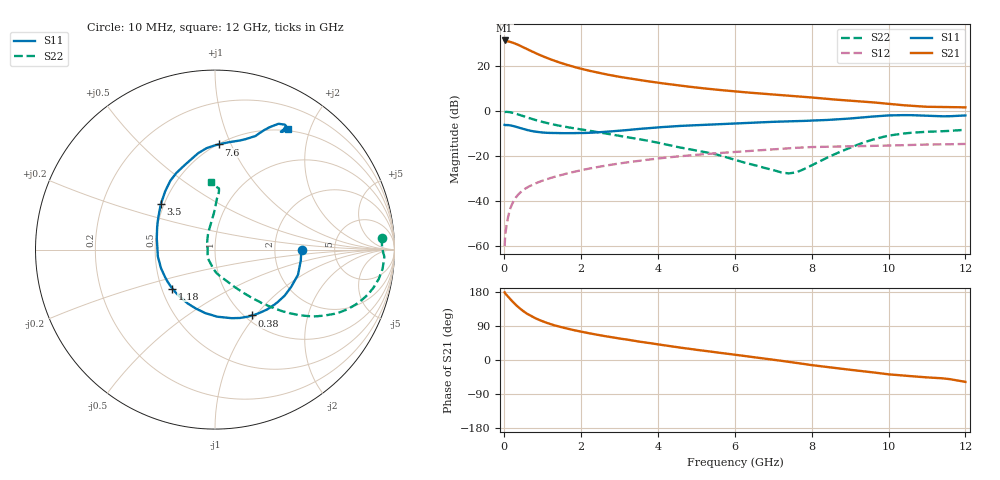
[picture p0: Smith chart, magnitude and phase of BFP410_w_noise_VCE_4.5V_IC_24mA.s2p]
! Infineon Technologies  Discrete & RF Semiconductors
! BFP410
! VCE =  4.5 V,  IC =  24 mA
! Common Emitter S-Parameters:  Nov 2015
# GHz  S  MA  R  50
!  f  S11  S21  S12  S22
! GHz  MAG  ANG  MAG  ANG  MAG  ANG  MAG  ANG
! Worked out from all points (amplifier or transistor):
!   243 points, 10 MHz to 12 GHz, reference 50 ohm
!   highest |S21| = 31.1 dB at 10 MHz (marker M1)
!   |S21| within 3 dB of that: start of sweep to 495.1 MHz
!   unconditionally stable (mu >= 1): start of sweep to 30.52 MHz; 1.897 GHz to end of sweep
!   at 240 MHz: K = 0.37, MSG = 35.1 dB, |S12| = -40.2 dB
!   at 1.84 GHz: K = 0.99, MSG = 23.1 dB, |S12| = -27.0 dB
!   at 12 GHz: K = 1.02, MAG = 7.2 dB, |S12| = -14.7 dB
!   lowest NFmin = 1.85 dB at 450 MHz
!   S11 on the Smith chart (normalised r, x): 10 MHz: 2.88, -0.01; 380 MHz: 1.08, -0.96; 1.18 GHz: 0.57, -0.28; 3.5 GHz: 0.48, +0.29; 7.6 GHz: 0.50, +0.90; 12 GHz: 0.48, +1.68
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0.01  0.4852 -0.2  35.9 178.4  0.001 35.8  0.9302 4.1
0.02  0.4804 -1.6  35.45 176.2  0.0015 59.0  0.9316 0.3
0.05  0.4818 -7.1  34.77 172.7  0.0025 63.4  0.9445 -2.4
0.1  0.4833 -16.8  34.31 167.3  0.0044 70.1  0.9397 -6.6
0.2  0.4653 -33.4  32.57 156.0  0.0084 71.4  0.9074 -13.6
0.3  0.4422 -49.0  30.29 145.7  0.0119 69.4  0.8596 -19.5
0.38  0.4214 -60.5  28.26 138.4  0.0143 67.0  0.8177 -23.5
0.5  0.3931 -76.4  25.3 128.7  0.0176 64.6  0.7551 -28.3
0.6  0.3742 -88.0  22.98 121.7  0.02 63.0  0.7076 -31.4
0.7  0.3579 -98.7  20.93 115.9  0.0222 62.0  0.6644 -34.1
0.9  0.3364 -116.9  17.5 106.1  0.0263 60.6  0.593 -38.0
1.18  0.3219 -137.5  13.98 95.6  0.0318 59.6  0.5165 -42.0
1.58  0.3181 -159.0  10.69 84.2  0.0396 58.3  0.4409 -46.0
2.02  0.3203 -177.5  8.402 74.4  0.0484 56.3  0.3833 -49.5
2.6  0.3394 162.5  6.504 63.3  0.0599 52.7  0.3164 -54.2
3.5  0.3939 140.1  4.792 48.7  0.0775 46.2  0.2353 -62.3
4.1  0.4327 128.9  4.055 39.8  0.0892 41.3  0.1876 -69.4
6.1  0.5244 104.0  2.63 12.6  0.1238 24.4  0.0772 -110.6
7.6  0.5865 88.0  2.088 -7.6  0.1507 10.4  0.0431 163.2
8.2  0.6122 79.9  1.891 -16.0  0.1579 3.6  0.0753 123.6
10.2  0.7912 62.0  1.368 -39.5  0.1706 -12.7  0.2965 87.1
12  0.7843 58.6  1.186 -57.7  0.1836 -28.7  0.3775 93.3
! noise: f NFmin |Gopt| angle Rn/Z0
0.45  1.85  0.17  -160  0.18
0.9  1.85  0.2  -157  0.16
1.8  2  0.24  -139  0.19
2.4  2  0.28  -125  0.24
5.5  2.89  0.46  -101  0.5
10  4.02  0.72  -45  2.79
